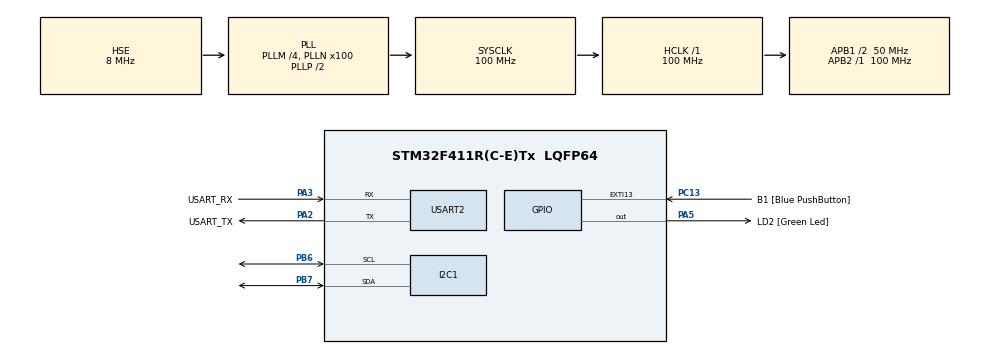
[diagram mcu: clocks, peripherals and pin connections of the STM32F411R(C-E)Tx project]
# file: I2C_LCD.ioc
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Mcu.Family=STM32F4
Mcu.Name=STM32F411R(C-E)Tx
Mcu.Package=LQFP64
NVIC.PriorityGroup=NVIC_PRIORITYGROUP_0
NVIC.USART2_IRQn=true\:0\:0\:false\:false\:true\:true\:true\:true
PA13.GPIO_Label=TMS
PA13.Mode=Serial_Wire
PA13.Signal=SYS_JTMS-SWDIO
PA14.GPIO_Label=TCK
PA14.Mode=Serial_Wire
PA14.Signal=SYS_JTCK-SWCLK
PA2.GPIO_Label=USART_TX
PA2.Mode=Asynchronous
PA2.Signal=USART2_TX
PA3.GPIO_Label=USART_RX
PA3.Mode=Asynchronous
PA3.Signal=USART2_RX
PA5.GPIO_Label=LD2 [Green Led]
PA5.Signal=GPIO_Output
PB3.GPIO_Label=SWO
PB3.Signal=SYS_JTDO-SWO
PB6.Mode=I2C
PB6.Signal=I2C1_SCL
PB7.Mode=I2C
PB7.Signal=I2C1_SDA
PC13-ANTI_TAMP.GPIO_Label=B1 [Blue PushButton]
PC13-ANTI_TAMP.GPIO_ModeDefaultEXTI=GPIO_MODE_IT_FALLING
PC13-ANTI_TAMP.Signal=GPXTI13
PC14-OSC32_IN.Signal=RCC_OSC32_IN
PC15-OSC32_OUT.Signal=RCC_OSC32_OUT
PH0\ -\ OSC_IN.Mode=HSE-External-Oscillator
PH0\ -\ OSC_IN.Signal=RCC_OSC_IN
PH1\ -\ OSC_OUT.Mode=HSE-External-Oscillator
PH1\ -\ OSC_OUT.Signal=RCC_OSC_OUT
ProjectManager.HeapSize=0x200
ProjectManager.StackSize=0x400
ProjectManager.TargetToolchain=STM32CubeIDE
RCC.48MHZClocksFreq_Value=50000000
RCC.AHBFreq_Value=100000000
RCC.APB1CLKDivider=RCC_HCLK_DIV2
RCC.APB1Freq_Value=50000000
RCC.APB1TimFreq_Value=100000000
RCC.APB2Freq_Value=100000000
RCC.APB2TimFreq_Value=100000000
RCC.CortexFreq_Value=100000000
RCC.FLatency-AdvancedSettings=FLASH_LATENCY_3
RCC.HCLKFreq_Value=100000000
RCC.HSE_VALUE=8000000
RCC.HSI_VALUE=16000000
RCC.LSE_VALUE=32768
RCC.PLLM=4
RCC.PLLN=100
RCC.PLLSourceVirtual=RCC_PLLSOURCE_HSE
RCC.SYSCLKFreq_VALUE=100000000
RCC.SYSCLKSource=RCC_SYSCLKSOURCE_PLLCLK
RCC.VCOOutputFreq_Value=200000000
USART2.VirtualMode=VM_ASYNC
board=NUCLEO-F411RE

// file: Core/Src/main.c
/* USER CODE BEGIN Header */
/**
  ******************************************************************************
  * @file           : main.c
  * @brief          : Main program body
  ******************************************************************************
  * @attention
  *
  * Copyright (c) 2023 STMicroelectronics.
  * All rights reserved.
  *
  * This software is licensed under terms that can be found in the LICENSE file
  * in the root directory of this software component.
  * If no LICENSE file comes with this software, it is provided AS-IS.
  *
  ******************************************************************************
  */
/* USER CODE END Header */
#include "main.h"
#include "i2c.h"
#include "usart.h"
#include "gpio.h"

/* USER CODE BEGIN Includes */
#include "I2C_LCD.h"
#include "stdio.h"
/* USER CODE END Includes */

void SystemClock_Config(void);

int main(void)
{

  /* MCU Configuration--------------------------------------------------------*/

  /* Reset of all peripherals, Initializes the Flash interface and the Systick. */
  HAL_Init();

  /* USER CODE BEGIN Init */
  uint16_t count = 0;
  uint8_t buff[30];
  /* USER CODE END Init */

  /* Configure the system clock */
  SystemClock_Config();

  /* Initialize all configured peripherals */
  MX_GPIO_Init();
  MX_I2C1_Init();
  MX_USART2_UART_Init();
  /* USER CODE BEGIN 2 */
  HAL_Delay(1000); // 통신 되게 느리니까 적당히 주자.
  lcd_init();
  lcd_send_string("Hello HARMAN"); // 12글자
  HAL_Delay(500);
  lcd_put_cur(1, 0); // 다음 행으로 커서 이동
  lcd_send_string("TEST LCD COM!"); // 12글자
  HAL_Delay(1000);
  lcd_clear();
  /* USER CODE END 2 */

  /* Infinite loop */
  while (1)
  {

    /* USER CODE BEGIN 3 */
	  sprintf(buff, "count %-5d", count++);
	  lcd_put_cur(1, 0);
	  lcd_send_string(buff);
	  HAL_Delay(100);
  }
  /* USER CODE END 3 */
}

void SystemClock_Config(void)
{
  RCC_OscInitTypeDef RCC_OscInitStruct = {0};
  RCC_ClkInitTypeDef RCC_ClkInitStruct = {0};

  /** Configure the main internal regulator output voltage
  */
  __HAL_RCC_PWR_CLK_ENABLE();
  __HAL_PWR_VOLTAGESCALING_CONFIG(PWR_REGULATOR_VOLTAGE_SCALE1);

  /** Initializes the RCC Oscillators according to the specified parameters
  * in the RCC_OscInitTypeDef structure.
  */
  RCC_OscInitStruct.OscillatorType = RCC_OSCILLATORTYPE_HSE;
  RCC_OscInitStruct.HSEState = RCC_HSE_ON;
  RCC_OscInitStruct.PLL.PLLState = RCC_PLL_ON;
  RCC_OscInitStruct.PLL.PLLSource = RCC_PLLSOURCE_HSE;
  RCC_OscInitStruct.PLL.PLLM = 4;
  RCC_OscInitStruct.PLL.PLLN = 100;
  RCC_OscInitStruct.PLL.PLLP = RCC_PLLP_DIV2;
  RCC_OscInitStruct.PLL.PLLQ = 4;
  if (HAL_RCC_OscConfig(&RCC_OscInitStruct) != HAL_OK)
  {
    Error_Handler();
  }

  /** Initializes the CPU, AHB and APB buses clocks
  */
  RCC_ClkInitStruct.ClockType = RCC_CLOCKTYPE_HCLK|RCC_CLOCKTYPE_SYSCLK
                              |RCC_CLOCKTYPE_PCLK1|RCC_CLOCKTYPE_PCLK2;
  RCC_ClkInitStruct.SYSCLKSource = RCC_SYSCLKSOURCE_PLLCLK;
  RCC_ClkInitStruct.AHBCLKDivider = RCC_SYSCLK_DIV1;
  RCC_ClkInitStruct.APB1CLKDivider = RCC_HCLK_DIV2;
  RCC_ClkInitStruct.APB2CLKDivider = RCC_HCLK_DIV1;

  if (HAL_RCC_ClockConfig(&RCC_ClkInitStruct, FLASH_LATENCY_3) != HAL_OK)
  {
    Error_Handler();
  }
}

void Error_Handler(void)
{
  __disable_irq();
  while (1)
  {
  }
}
